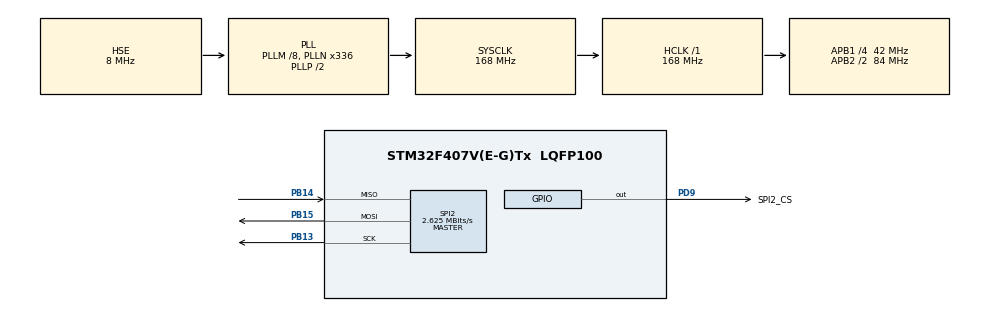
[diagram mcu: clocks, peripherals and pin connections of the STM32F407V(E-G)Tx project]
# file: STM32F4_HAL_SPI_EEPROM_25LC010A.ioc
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Mcu.Family=STM32F4
Mcu.Name=STM32F407V(E-G)Tx
Mcu.Package=LQFP100
NVIC.PriorityGroup=NVIC_PRIORITYGROUP_0
PB13.Mode=Full_Duplex_Master
PB13.Signal=SPI2_SCK
PB14.Mode=Full_Duplex_Master
PB14.Signal=SPI2_MISO
PB15.Mode=Full_Duplex_Master
PB15.Signal=SPI2_MOSI
PD9.GPIO_Label=SPI2_CS
PD9.GPIO_PuPd=GPIO_PULLUP
PD9.PinState=GPIO_PIN_SET
PD9.Signal=GPIO_Output
PH0-OSC_IN.Mode=HSE-External-Oscillator
PH0-OSC_IN.Signal=RCC_OSC_IN
PH1-OSC_OUT.Mode=HSE-External-Oscillator
PH1-OSC_OUT.Signal=RCC_OSC_OUT
ProjectManager.HeapSize=0x200
ProjectManager.StackSize=0x400
ProjectManager.TargetToolchain=TrueSTUDIO
RCC.48MHZClocksFreq_Value=48000000
RCC.AHBFreq_Value=168000000
RCC.APB1CLKDivider=RCC_HCLK_DIV4
RCC.APB1Freq_Value=42000000
RCC.APB1TimFreq_Value=84000000
RCC.APB2CLKDivider=RCC_HCLK_DIV2
RCC.APB2Freq_Value=84000000
RCC.APB2TimFreq_Value=168000000
RCC.CortexFreq_Value=168000000
RCC.HCLKFreq_Value=168000000
RCC.HSE_VALUE=8000000
RCC.HSI_VALUE=16000000
RCC.LSE_VALUE=32768
RCC.PLLM=8
RCC.PLLN=336
RCC.PLLQ=7
RCC.PLLSourceVirtual=RCC_PLLSOURCE_HSE
RCC.SYSCLKFreq_VALUE=168000000
RCC.SYSCLKSource=RCC_SYSCLKSOURCE_PLLCLK
RCC.VCOOutputFreq_Value=336000000
SPI2.BaudRatePrescaler=SPI_BAUDRATEPRESCALER_16
SPI2.CalculateBaudRate=2.625 MBits/s
SPI2.Direction=SPI_DIRECTION_2LINES
SPI2.Mode=SPI_MODE_MASTER
SPI2.VirtualType=VM_MASTER
board=STM32F4DISCOVERY

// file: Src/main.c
/**
  ******************************************************************************
  * @file           : main.c
  * @brief          : Main program body
  ******************************************************************************
  ** This notice applies to any and all portions of this file
  * that are not between comment pairs USER CODE BEGIN and
  * USER CODE END. Other portions of this file, whether
  * inserted by the user or by software development tools
  * are owned by their respective copyright owners.
  *
  * COPYRIGHT(c) 2019 STMicroelectronics
  *
  * Redistribution and use in source and binary forms, with or without modification,
  * are permitted provided that the following conditions are met:
  *   1. Redistributions of source code must retain the above copyright notice,
  *      this list of conditions and the following disclaimer.
  *   2. Redistributions in binary form must reproduce the above copyright notice,
  *      this list of conditions and the following disclaimer in the documentation
  *      and/or other materials provided with the distribution.
  *   3. Neither the name of STMicroelectronics nor the names of its contributors
  *      may be used to endorse or promote products derived from this software
  *      without specific prior written permission.
  *
  * THIS SOFTWARE IS PROVIDED BY THE COPYRIGHT HOLDERS AND CONTRIBUTORS "AS IS"
  * AND ANY EXPRESS OR IMPLIED WARRANTIES, INCLUDING, BUT NOT LIMITED TO, THE
  * IMPLIED WARRANTIES OF MERCHANTABILITY AND FITNESS FOR A PARTICULAR PURPOSE ARE
  * DISCLAIMED. IN NO EVENT SHALL THE COPYRIGHT HOLDER OR CONTRIBUTORS BE LIABLE
  * FOR ANY DIRECT, INDIRECT, INCIDENTAL, SPECIAL, EXEMPLARY, OR CONSEQUENTIAL
  * DAMAGES (INCLUDING, BUT NOT LIMITED TO, PROCUREMENT OF SUBSTITUTE GOODS OR
  * SERVICES; LOSS OF USE, DATA, OR PROFITS; OR BUSINESS INTERRUPTION) HOWEVER
  * CAUSED AND ON ANY THEORY OF LIABILITY, WHETHER IN CONTRACT, STRICT LIABILITY,
  * OR TORT (INCLUDING NEGLIGENCE OR OTHERWISE) ARISING IN ANY WAY OUT OF THE USE
  * OF THIS SOFTWARE, EVEN IF ADVISED OF THE POSSIBILITY OF SUCH DAMAGE.
  *
  ******************************************************************************
  */
#include "main.h"
#include "stm32f4xx_hal.h"

/* USER CODE BEGIN Includes */
#include "string.h"
#include "25lc010a.h"
/* USER CODE END Includes */

SPI_HandleTypeDef hspi2;

/* USER CODE BEGIN PV */
/* Private variables ---------------------------------------------------------*/
uint8_t data;
char *sndBuffer = "HELLO WORLD!HELLO WORLD!\r\n";
char rcvBuffer[30];
/* USER CODE END PV */

void SystemClock_Config(void);
static void MX_GPIO_Init(void);
static void MX_SPI2_Init(void);

/* USER CODE BEGIN PFP */
/* Private function prototypes -----------------------------------------------*/

/* USER CODE END PFP */

int main(void)
{

  /* MCU Configuration----------------------------------------------------------*/

  /* Reset of all peripherals, Initializes the Flash interface and the Systick. */
  HAL_Init();

  /* Configure the system clock */
  SystemClock_Config();

  /* Initialize all configured peripherals */
  MX_GPIO_Init();
  MX_SPI2_Init();
  /* USER CODE BEGIN 2 */
  EEPROM_Init(&hspi2, SPI2_CS_GPIO_Port, SPI2_CS_Pin);

  EEPROM_WriteByte(0x00, 'A');
  data = EEPROM_ReadByte(0x00);

  EEPROM_WriteByte(0x01, 'B');
  data = EEPROM_ReadByte(0x01);

  EEPROM_WriteBuffer(0x02, (uint8_t*)sndBuffer, strlen(sndBuffer));
  memset(rcvBuffer, 0, sizeof(rcvBuffer));
  EEPROM_ReadBuffer(0x02, (uint8_t*)rcvBuffer,strlen(sndBuffer));

  EEPROM_EraseAll();
  data = EEPROM_ReadByte(0x00);

  /* USER CODE END 2 */

  /* Infinite loop */
  while (1)
  {

  }

}

void SystemClock_Config(void)
{

  RCC_OscInitTypeDef RCC_OscInitStruct;
  RCC_ClkInitTypeDef RCC_ClkInitStruct;

    /**Configure the main internal regulator output voltage
    */
  __HAL_RCC_PWR_CLK_ENABLE();

  __HAL_PWR_VOLTAGESCALING_CONFIG(PWR_REGULATOR_VOLTAGE_SCALE1);

    /**Initializes the CPU, AHB and APB busses clocks
    */
  RCC_OscInitStruct.OscillatorType = RCC_OSCILLATORTYPE_HSE;
  RCC_OscInitStruct.HSEState = RCC_HSE_ON;
  RCC_OscInitStruct.PLL.PLLState = RCC_PLL_ON;
  RCC_OscInitStruct.PLL.PLLSource = RCC_PLLSOURCE_HSE;
  RCC_OscInitStruct.PLL.PLLM = 8;
  RCC_OscInitStruct.PLL.PLLN = 336;
  RCC_OscInitStruct.PLL.PLLP = RCC_PLLP_DIV2;
  RCC_OscInitStruct.PLL.PLLQ = 7;
  if (HAL_RCC_OscConfig(&RCC_OscInitStruct) != HAL_OK)
  {
    _Error_Handler(__FILE__, __LINE__);
  }

    /**Initializes the CPU, AHB and APB busses clocks
    */
  RCC_ClkInitStruct.ClockType = RCC_CLOCKTYPE_HCLK|RCC_CLOCKTYPE_SYSCLK
                              |RCC_CLOCKTYPE_PCLK1|RCC_CLOCKTYPE_PCLK2;
  RCC_ClkInitStruct.SYSCLKSource = RCC_SYSCLKSOURCE_PLLCLK;
  RCC_ClkInitStruct.AHBCLKDivider = RCC_SYSCLK_DIV1;
  RCC_ClkInitStruct.APB1CLKDivider = RCC_HCLK_DIV4;
  RCC_ClkInitStruct.APB2CLKDivider = RCC_HCLK_DIV2;

  if (HAL_RCC_ClockConfig(&RCC_ClkInitStruct, FLASH_LATENCY_5) != HAL_OK)
  {
    _Error_Handler(__FILE__, __LINE__);
  }

    /**Configure the Systick interrupt time
    */
  HAL_SYSTICK_Config(HAL_RCC_GetHCLKFreq()/1000);

    /**Configure the Systick
    */
  HAL_SYSTICK_CLKSourceConfig(SYSTICK_CLKSOURCE_HCLK);

  /* SysTick_IRQn interrupt configuration */
  HAL_NVIC_SetPriority(SysTick_IRQn, 0, 0);
}

/* SPI2 init function */
static void MX_SPI2_Init(void)
{

  /* SPI2 parameter configuration*/
  hspi2.Instance = SPI2;
  hspi2.Init.Mode = SPI_MODE_MASTER;
  hspi2.Init.Direction = SPI_DIRECTION_2LINES;
  hspi2.Init.DataSize = SPI_DATASIZE_8BIT;
  hspi2.Init.CLKPolarity = SPI_POLARITY_LOW;
  hspi2.Init.CLKPhase = SPI_PHASE_1EDGE;
  hspi2.Init.NSS = SPI_NSS_SOFT;
  hspi2.Init.BaudRatePrescaler = SPI_BAUDRATEPRESCALER_8;
  hspi2.Init.FirstBit = SPI_FIRSTBIT_MSB;
  hspi2.Init.TIMode = SPI_TIMODE_DISABLE;
  hspi2.Init.CRCCalculation = SPI_CRCCALCULATION_DISABLE;
  hspi2.Init.CRCPolynomial = 10;
  if (HAL_SPI_Init(&hspi2) != HAL_OK)
  {
    _Error_Handler(__FILE__, __LINE__);
  }

}

/** Configure pins as
        * Analog
        * Input
        * Output
        * EVENT_OUT
        * EXTI
*/
static void MX_GPIO_Init(void)
{

  GPIO_InitTypeDef GPIO_InitStruct;

  /* GPIO Ports Clock Enable */
  __HAL_RCC_GPIOH_CLK_ENABLE();
  __HAL_RCC_GPIOB_CLK_ENABLE();
  __HAL_RCC_GPIOD_CLK_ENABLE();

  /*Configure GPIO pin Output Level */
  HAL_GPIO_WritePin(SPI2_CS_GPIO_Port, SPI2_CS_Pin, GPIO_PIN_RESET);

  /*Configure GPIO pin : SPI2_CS_Pin */
  GPIO_InitStruct.Pin = SPI2_CS_Pin;
  GPIO_InitStruct.Mode = GPIO_MODE_OUTPUT_PP;
  GPIO_InitStruct.Pull = GPIO_NOPULL;
  GPIO_InitStruct.Speed = GPIO_SPEED_FREQ_LOW;
  HAL_GPIO_Init(SPI2_CS_GPIO_Port, &GPIO_InitStruct);

}

void _Error_Handler(char *file, int line)
{
  while(1)
  {
  }
}

/************************ (C) COPYRIGHT STMicroelectronics *****END OF FILE****/
